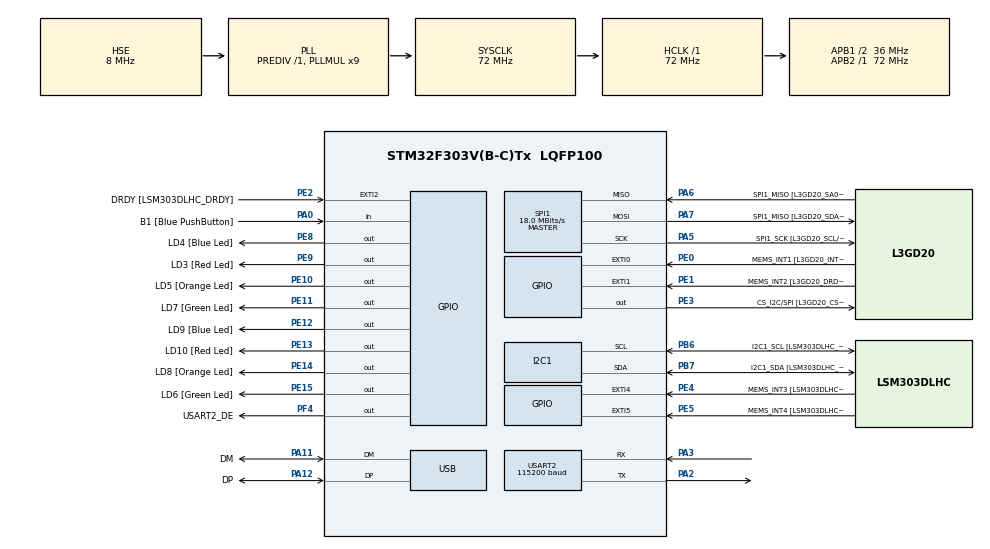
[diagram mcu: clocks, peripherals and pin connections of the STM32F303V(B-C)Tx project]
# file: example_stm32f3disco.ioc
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Dma.Request0=USART2_RX
Dma.Request1=USART2_TX
Dma.USART2_RX.0.Direction=DMA_PERIPH_TO_MEMORY
Dma.USART2_RX.0.Instance=DMA1_Channel6
Dma.USART2_RX.0.MemDataAlignment=DMA_MDATAALIGN_BYTE
Dma.USART2_RX.0.MemInc=DMA_MINC_ENABLE
Dma.USART2_RX.0.Mode=DMA_NORMAL
Dma.USART2_RX.0.PeriphDataAlignment=DMA_PDATAALIGN_BYTE
Dma.USART2_RX.0.PeriphInc=DMA_PINC_DISABLE
Dma.USART2_RX.0.Priority=DMA_PRIORITY_LOW
Dma.USART2_TX.1.Direction=DMA_MEMORY_TO_PERIPH
Dma.USART2_TX.1.Instance=DMA1_Channel7
Dma.USART2_TX.1.MemDataAlignment=DMA_MDATAALIGN_BYTE
Dma.USART2_TX.1.MemInc=DMA_MINC_ENABLE
Dma.USART2_TX.1.Mode=DMA_NORMAL
Dma.USART2_TX.1.PeriphDataAlignment=DMA_PDATAALIGN_BYTE
Dma.USART2_TX.1.PeriphInc=DMA_PINC_DISABLE
Dma.USART2_TX.1.Priority=DMA_PRIORITY_LOW
FREERTOS.INCLUDE_vTaskDelayUntil=1
FREERTOS.Tasks01=defaultTask,0,128,StartDefaultTask,Default,NULL,Dynamic,NULL,NULL
I2C1.Timing=0x00201D2B
I2C1.Timing-I2C=0x2000090E
Mcu.Family=STM32F3
Mcu.Name=STM32F303V(B-C)Tx
Mcu.Package=LQFP100
NVIC.DMA1_Channel6_IRQn=true\:5\:0\:false\:false\:true\:true\:false\:true\:true
NVIC.DMA1_Channel7_IRQn=true\:5\:0\:false\:false\:true\:true\:false\:true\:true
NVIC.PriorityGroup=NVIC_PRIORITYGROUP_4
NVIC.TIM3_IRQn=true\:5\:0\:false\:false\:true\:true\:true\:true\:true
NVIC.TIM4_IRQn=true\:15\:0\:true\:false\:true\:false\:false\:true\:true
NVIC.TimeBase=TIM4_IRQn
NVIC.TimeBaseIP=TIM4
NVIC.USART2_IRQn=true\:5\:0\:false\:false\:true\:true\:true\:true\:true
PA0.GPIO_Label=B1 [Blue PushButton]
PA0.Signal=GPIO_Input
PA11.GPIO_Label=DM
PA11.Mode=Device
PA11.Signal=USB_DM
PA12.GPIO_Label=DP
PA12.Mode=Device
PA12.Signal=USB_DP
PA13.GPIO_Label=SWDIO
PA13.Mode=Trace_Asynchronous_SW
PA13.Signal=SYS_JTMS-SWDIO
PA14.GPIO_Label=SWCLK
PA14.Mode=Trace_Asynchronous_SW
PA14.Signal=SYS_JTCK-SWCLK
PA2.Mode=Asynchronous
PA2.Signal=USART2_TX
PA3.Mode=Asynchronous
PA3.Signal=USART2_RX
PA5.GPIO_Label=SPI1_SCK [L3GD20_SCL/SPC]
PA5.Mode=Full_Duplex_Master
PA5.Signal=SPI1_SCK
PA6.GPIO_Label=SPI1_MISO [L3GD20_SA0/SDO]
PA6.Mode=Full_Duplex_Master
PA6.Signal=SPI1_MISO
PA7.GPIO_Label=SPI1_MISO [L3GD20_SDA/SDI/SDO]
PA7.Mode=Full_Duplex_Master
PA7.Signal=SPI1_MOSI
PB3.GPIO_Label=SWO
PB3.Mode=Trace_Asynchronous_SW
PB3.Signal=SYS_JTDO-TRACESWO
PB6.GPIO_Label=I2C1_SCL [LSM303DLHC_SCL]
PB6.GPIO_Pu=GPIO_PULLUP
PB6.Mode=I2C
PB6.Signal=I2C1_SCL
PB7.GPIO_Label=I2C1_SDA [LSM303DLHC_SDA]
PB7.GPIO_Pu=GPIO_PULLUP
PB7.Mode=I2C
PB7.Signal=I2C1_SDA
PC14-OSC32_IN.GPIO_Label=OSC32_IN
PC14-OSC32_IN.Signal=RCC_OSC32_IN
PC15-OSC32_OUT.GPIO_Label=OSC32_OUT
PC15-OSC32_OUT.Signal=RCC_OSC32_OUT
PE0.GPIO_Label=MEMS_INT1 [L3GD20_INT1]
PE0.GPIO_ModeDefaultEXTI=GPIO_MODE_EVT_RISING
PE0.Signal=GPXTI0
PE1.GPIO_Label=MEMS_INT2 [L3GD20_DRDY/INT2]
PE1.GPIO_ModeDefaultEXTI=GPIO_MODE_EVT_RISING
PE1.Signal=GPXTI1
PE10.GPIO_Label=LD5 [Orange Led]
PE10.Signal=GPIO_Output
PE11.GPIO_Label=LD7 [Green Led]
PE11.Signal=GPIO_Output
PE12.GPIO_Label=LD9 [Blue Led]
PE12.Signal=GPIO_Output
PE13.GPIO_Label=LD10 [Red Led]
PE13.Signal=GPIO_Output
PE14.GPIO_Label=LD8 [Orange Led]
PE14.Signal=GPIO_Output
PE15.GPIO_Label=LD6 [Green Led]
PE15.Signal=GPIO_Output
PE2.GPIO_Label=DRDY [LSM303DLHC_DRDY]
PE2.GPIO_ModeDefaultEXTI=GPIO_MODE_EVT_RISING
PE2.Signal=GPXTI2
PE3.GPIO_Label=CS_I2C/SPI [L3GD20_CS_I2C/SPI]
PE3.Signal=GPIO_Output
PE4.GPIO_Label=MEMS_INT3 [LSM303DLHC_INT1]
PE4.GPIO_ModeDefaultEXTI=GPIO_MODE_EVT_RISING
PE4.Signal=GPXTI4
PE5.GPIO_Label=MEMS_INT4 [LSM303DLHC_INT2]
PE5.GPIO_ModeDefaultEXTI=GPIO_MODE_EVT_RISING
PE5.Signal=GPXTI5
PE8.GPIO_Label=LD4 [Blue Led]
PE8.Signal=GPIO_Output
PE9.GPIO_Label=LD3 [Red Led]
PE9.Signal=GPIO_Output
PF0-OSC_IN.GPIO_Label=OSC_IN
PF0-OSC_IN.Mode=HSE-External-Oscillator
PF0-OSC_IN.Signal=RCC_OSC_IN
PF1-OSC_OUT.GPIO_Label=OSC_OUT
PF1-OSC_OUT.Mode=HSE-External-Oscillator
PF1-OSC_OUT.Signal=RCC_OSC_OUT
PF4.GPIO_Label=USART2_DE
PF4.Signal=GPIO_Output
ProjectManager.HeapSize=0x200
ProjectManager.StackSize=0x400
ProjectManager.TargetToolchain=CMake
RCC.AHBFreq_Value=72000000
RCC.APB1CLKDivider=RCC_HCLK_DIV2
RCC.APB1Freq_Value=36000000
RCC.APB1TimFreq_Value=72000000
RCC.APB2Freq_Value=72000000
RCC.APB2TimFreq_Value=72000000
RCC.CortexFreq_Value=72000000
RCC.HCLKFreq_Value=72000000
RCC.HSE_VALUE=8000000
RCC.HSI_VALUE=8000000
RCC.LSE_VALUE=32768
RCC.PLLMUL=RCC_PLL_MUL9
RCC.PRESCALERUSB=RCC_USBCLKSOURCE_PLL_DIV1_5
RCC.SYSCLKFreq_VALUE=72000000
RCC.SYSCLKSourceVirtual=RCC_SYSCLKSOURCE_PLLCLK
RCC.USBFreq_Value=48000000
SPI1.BaudRatePrescaler=SPI_BAUDRATEPRESCALER_4
SPI1.BaudRatePrescaler-Full_Duplex_Master=SPI_BAUDRATEPRESCALER_2
SPI1.CalculateBaudRate=18.0 MBits/s
SPI1.CalculateBaudRate-Full_Duplex_Master=24.0 MBits/s
SPI1.Direction=SPI_DIRECTION_2LINES
SPI1.Mode=SPI_MODE_MASTER
SPI1.Mode-Full_Duplex_Master=SPI_MODE_MASTER
SPI1.VirtualType=VM_MASTER
TIM3.Period=307-1
TIM3.Prescaler=72-1
USART2.BaudRate=115200
USART2.VirtualMode-Asynchronous=VM_ASYNC
VP_FREERTOS_VS_CMSIS_V1.Mode=CMSIS_V1
VP_SYS_VS_tim4.Mode=TIM4
VP_TIM3_VS_ClockSourceINT.Mode=Internal
board=STM32F3DISCOVERY

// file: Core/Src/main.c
/* USER CODE BEGIN Header */
/**
  ******************************************************************************
  * @file           : main.c
  * @brief          : Main program body
  ******************************************************************************
  * @attention
  *
  * Copyright (c) 2025 STMicroelectronics.
  * All rights reserved.
  *
  * This software is licensed under terms that can be found in the LICENSE file
  * in the root directory of this software component.
  * If no LICENSE file comes with this software, it is provided AS-IS.
  *
  ******************************************************************************
  */
/* USER CODE END Header */
#include "main.h"
#include "cmsis_os.h"
#include "dma.h"
#include "i2c.h"
#include "spi.h"
#include "tim.h"
#include "usart.h"
#include "usb.h"
#include "gpio.h"

void SystemClock_Config(void);
void MX_FREERTOS_Init(void);

int main(void)
{

  /* MCU Configuration--------------------------------------------------------*/

  /* Reset of all peripherals, Initializes the Flash interface and the Systick. */
  HAL_Init();

  /* Configure the system clock */
  SystemClock_Config();

  /* Initialize all configured peripherals */
  MX_GPIO_Init();
  MX_DMA_Init();
  MX_I2C1_Init();
  MX_SPI1_Init();
  MX_USB_PCD_Init();
  MX_USART2_UART_Init();
  MX_TIM3_Init();

  /* Call init function for freertos objects (in cmsis_os2.c) */
  MX_FREERTOS_Init();

  /* Start scheduler */
  osKernelStart();

  /* We should never get here as control is now taken by the scheduler */

  /* Infinite loop */
  while (1)
  {

  }
}

void SystemClock_Config(void)
{
  RCC_OscInitTypeDef RCC_OscInitStruct = {0};
  RCC_ClkInitTypeDef RCC_ClkInitStruct = {0};
  RCC_PeriphCLKInitTypeDef PeriphClkInit = {0};

  /** Initializes the RCC Oscillators according to the specified parameters
  * in the RCC_OscInitTypeDef structure.
  */
  RCC_OscInitStruct.OscillatorType = RCC_OSCILLATORTYPE_HSI|RCC_OSCILLATORTYPE_HSE;
  RCC_OscInitStruct.HSEState = RCC_HSE_ON;
  RCC_OscInitStruct.HSEPredivValue = RCC_HSE_PREDIV_DIV1;
  RCC_OscInitStruct.HSIState = RCC_HSI_ON;
  RCC_OscInitStruct.HSICalibrationValue = RCC_HSICALIBRATION_DEFAULT;
  RCC_OscInitStruct.PLL.PLLState = RCC_PLL_ON;
  RCC_OscInitStruct.PLL.PLLSource = RCC_PLLSOURCE_HSE;
  RCC_OscInitStruct.PLL.PLLMUL = RCC_PLL_MUL9;
  if (HAL_RCC_OscConfig(&RCC_OscInitStruct) != HAL_OK)
  {
    Error_Handler();
  }

  /** Initializes the CPU, AHB and APB buses clocks
  */
  RCC_ClkInitStruct.ClockType = RCC_CLOCKTYPE_HCLK|RCC_CLOCKTYPE_SYSCLK
                              |RCC_CLOCKTYPE_PCLK1|RCC_CLOCKTYPE_PCLK2;
  RCC_ClkInitStruct.SYSCLKSource = RCC_SYSCLKSOURCE_PLLCLK;
  RCC_ClkInitStruct.AHBCLKDivider = RCC_SYSCLK_DIV1;
  RCC_ClkInitStruct.APB1CLKDivider = RCC_HCLK_DIV2;
  RCC_ClkInitStruct.APB2CLKDivider = RCC_HCLK_DIV1;

  if (HAL_RCC_ClockConfig(&RCC_ClkInitStruct, FLASH_LATENCY_2) != HAL_OK)
  {
    Error_Handler();
  }
  PeriphClkInit.PeriphClockSelection = RCC_PERIPHCLK_USB|RCC_PERIPHCLK_USART2
                              |RCC_PERIPHCLK_I2C1;
  PeriphClkInit.Usart2ClockSelection = RCC_USART2CLKSOURCE_PCLK1;
  PeriphClkInit.I2c1ClockSelection = RCC_I2C1CLKSOURCE_HSI;
  PeriphClkInit.USBClockSelection = RCC_USBCLKSOURCE_PLL_DIV1_5;
  if (HAL_RCCEx_PeriphCLKConfig(&PeriphClkInit) != HAL_OK)
  {
    Error_Handler();
  }
}

void HAL_TIM_PeriodElapsedCallback(TIM_HandleTypeDef *htim)
{
  if (htim->Instance == TIM4) {
    HAL_IncTick();
  }
}

void Error_Handler(void)
{
  __disable_irq();
  while (1)
  {
  }
}

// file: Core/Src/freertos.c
/* USER CODE BEGIN Header */
/**
  ******************************************************************************
  * File Name          : freertos.c
  * Description        : Code for freertos applications
  ******************************************************************************
  * @attention
  *
  * Copyright (c) 2025 STMicroelectronics.
  * All rights reserved.
  *
  * This software is licensed under terms that can be found in the LICENSE file
  * in the root directory of this software component.
  * If no LICENSE file comes with this software, it is provided AS-IS.
  *
  ******************************************************************************
  */
/* USER CODE END Header */

#include "FreeRTOS.h"
#include "task.h"
#include "main.h"
#include "cmsis_os.h"

/* USER CODE BEGIN Includes */
#include "niva_modbus_stm32.h"
/* USER CODE END Includes */

osThreadId defaultTaskHandle;

void StartDefaultTask(void const * argument);

void MX_FREERTOS_Init(void); /* (MISRA C 2004 rule 8.1) */

/* GetIdleTaskMemory prototype (linked to static allocation support) */
void vApplicationGetIdleTaskMemory( StaticTask_t **ppxIdleTaskTCBBuffer, StackType_t **ppxIdleTaskStackBuffer, uint32_t *pulIdleTaskStackSize );

/* USER CODE BEGIN GET_IDLE_TASK_MEMORY */
static StaticTask_t xIdleTaskTCBBuffer;
static StackType_t xIdleStack[configMINIMAL_STACK_SIZE];

void vApplicationGetIdleTaskMemory( StaticTask_t **ppxIdleTaskTCBBuffer, StackType_t **ppxIdleTaskStackBuffer, uint32_t *pulIdleTaskStackSize )
{
  *ppxIdleTaskTCBBuffer = &xIdleTaskTCBBuffer;
  *ppxIdleTaskStackBuffer = &xIdleStack[0];
  *pulIdleTaskStackSize = configMINIMAL_STACK_SIZE;
  /* place for user code */
}
/* USER CODE END GET_IDLE_TASK_MEMORY */

void MX_FREERTOS_Init(void) {
  /* USER CODE BEGIN Init */
  modbus_server_init();
  /* USER CODE END Init */

  /* Create the thread(s) */
  /* definition and creation of defaultTask */
  osThreadDef(defaultTask, StartDefaultTask, osPriorityNormal, 0, 128);
  defaultTaskHandle = osThreadCreate(osThread(defaultTask), NULL);

  /* USER CODE BEGIN RTOS_THREADS */
  BaseType_t res = xTaskCreate(
    modbus_task,
    "modbus_irq",
    512,
    NULL,
    osPriorityRealtime,
    &MODBUS_TASK_HANDLE);
  if (res != pdTRUE) {
    Error_Handler();
  }
  /* add threads, ... */
  /* USER CODE END RTOS_THREADS */

}

void StartDefaultTask(void const * argument)
{
  /* USER CODE BEGIN StartDefaultTask */
  (void)argument;
  /* Infinite loop */
  for(;;)
  {
    xEventGroupWaitBits(
            MODBUS_EVENT_GROUP,
            MODBUS_EVENT_LED_UPDATE,
            pdTRUE,
            pdFALSE,
            portMAX_DELAY);

    uint32_t coils = 0;
    WITH_MODBUS_SERVER_LOCK(modbus_server, portMAX_DELAY) {
      coils = (modbus_server->coils[4]) |
        (modbus_server->coils[5] << 1) |
        (modbus_server->coils[6] << 2) |
        (modbus_server->coils[7] << 3) |
        (modbus_server->coils[8] << 4) |
        (modbus_server->coils[9] << 5) |
        (modbus_server->coils[10] << 6);
    }
    HAL_GPIO_WritePin(LD4_GPIO_Port, LD4_Pin, (coils & 0x01));
    HAL_GPIO_WritePin(LD5_GPIO_Port, LD5_Pin, ((coils >> 1) & 0x01));
    HAL_GPIO_WritePin(LD6_GPIO_Port, LD6_Pin, ((coils >> 2) & 0x01));
    HAL_GPIO_WritePin(LD7_GPIO_Port, LD7_Pin, ((coils >> 3) & 0x01));
    HAL_GPIO_WritePin(LD8_GPIO_Port, LD8_Pin, ((coils >> 4) & 0x01));
    HAL_GPIO_WritePin(LD9_GPIO_Port, LD9_Pin, ((coils >> 5) & 0x01));
    HAL_GPIO_WritePin(LD10_GPIO_Port, LD10_Pin, ((coils >> 6) & 0x01));
    // vTaskDelay(pdMS_TO_TICKS(1));
  }
  /* USER CODE END StartDefaultTask */
}
